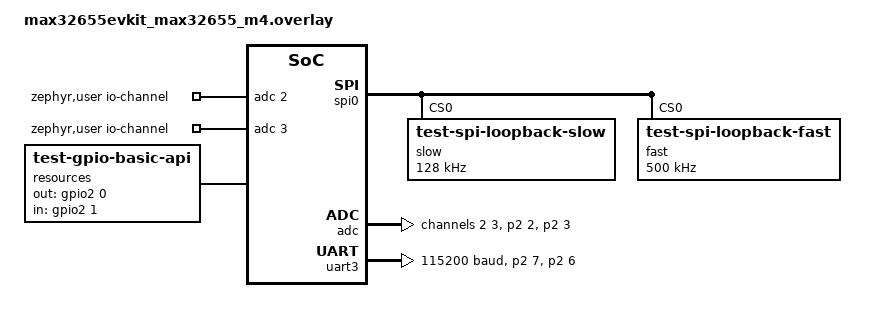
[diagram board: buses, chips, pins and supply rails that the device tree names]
/*
 * Copyright (c) 2024 Analog Devices, Inc.
 *
 * SPDX-License-Identifier: Apache-2.0
 */

tst_dma0: &dma0 {};

&spi0 {
	dmas = <&dma0 1 MAX32_DMA_SLOT_SPI0_TX>, <&dma0 2 MAX32_DMA_SLOT_SPI0_RX>;
	dma-names = "tx", "rx";
	slow@0 {
		compatible = "test-spi-loopback-slow";
		reg = <0>;
		spi-max-frequency = <128000>;
	};
	fast@0 {
		compatible = "test-spi-loopback-fast";
		reg = <0>;
		spi-max-frequency = <500000>;
	};
};

/ {
	zephyr,user {
		io-channels = <&adc 2>, <&adc 3>;
	};
};

&adc {
	status = "okay";
	pinctrl-0 = <&ain2_p2_2 &ain3_p2_3>;
	pinctrl-names = "default";
	#address-cells = <1>;
	#size-cells = <0>;
	channel@2 {
		reg = <2>;
		zephyr,gain = "ADC_GAIN_1";
		zephyr,reference = "ADC_REF_INTERNAL";
		zephyr,acquisition-time = <ADC_ACQ_TIME_DEFAULT>;
		zephyr,resolution = <10>;
	};
	channel@3 {
		reg = <3>;
		zephyr,gain = "ADC_GAIN_1";
		zephyr,reference = "ADC_REF_INTERNAL";
		zephyr,acquisition-time = <ADC_ACQ_TIME_DEFAULT>;
		zephyr,resolution = <10>;
	};
};

/ {
	resources {
		compatible = "test-gpio-basic-api";
		out-gpios = <&gpio2 0 0>;
		in-gpios = <&gpio2 1 0>;
	};
};

dut: &uart3 {
	status = "okay";
	pinctrl-0 = <&lpuartb_tx_p2_7 &lpuartb_rx_p2_6>;
	pinctrl-names = "default";
	dmas = <&dma0 1 MAX32_DMA_SLOT_UART3_TX>, <&dma0 2 MAX32_DMA_SLOT_UART3_RX>;
	dma-names = "tx", "rx";
	current-speed = <115200>;
	data-bits = <8>;
	parity = "none";
};
